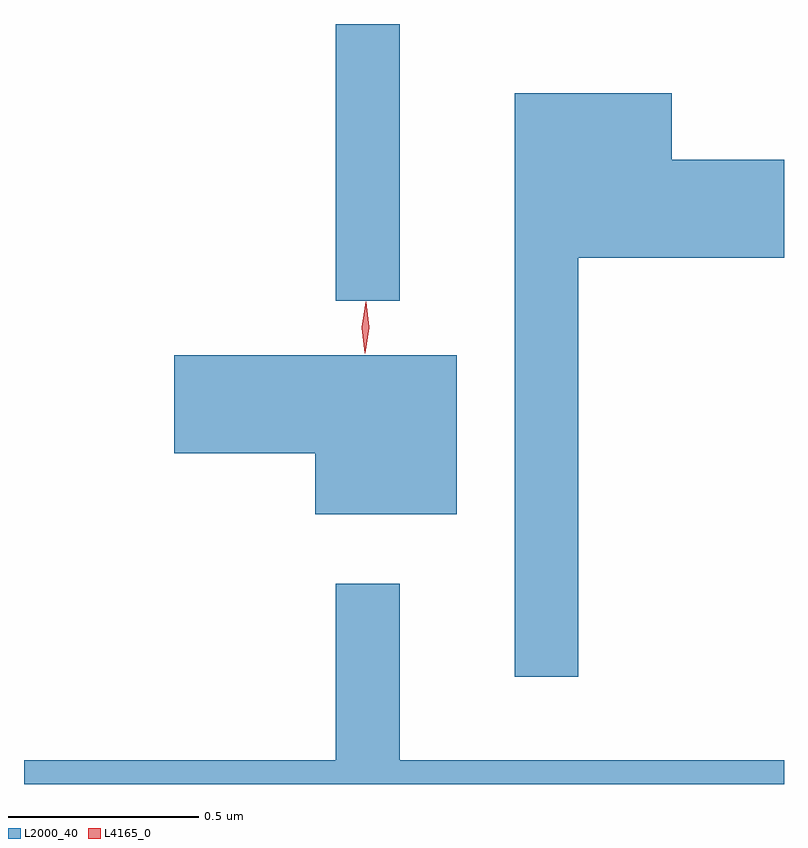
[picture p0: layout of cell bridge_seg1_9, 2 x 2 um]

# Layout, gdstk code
import gdstk
lib = gdstk.Library(unit=1e-6, precision=1e-09)
def R(c, l, rs):  # rectangles x0, y0, x1, y1
    for r in rs: c.add(gdstk.rectangle(r[:2], r[2:], *l))
def P(c, l, *ps):  # polygons
    for p in ps: c.add(gdstk.Polygon(p, *l))
L2000_40 = (2000, 40)
L4165_0 = (4165, 0)

bridge_seg1_9 = lib.new_cell('bridge_seg1_9')
R(bridge_seg1_9, L2000_40, [(1569.181,856.653,1569.349,857.381)])
P(bridge_seg1_9, L2000_40, [(1569.819,856.766),(1570.36,856.766),(1570.36,857.024),(1570.064,857.024),(1570.064,857.199),(1569.651,857.199),(1569.651,855.663),(1569.819,855.663)],
  [(1569.499,856.509),(1568.756,856.509),(1568.756,856.251),(1569.126,856.251),(1569.126,856.091),(1569.499,856.091)],
  [(1570.36,855.444),(1569.349,855.444),(1569.349,855.908),(1569.181,855.908),(1569.181,855.444),(1568.36,855.444),(1568.36,855.381),(1570.36,855.381)])
P(bridge_seg1_9, L4165_0, [(1569.257,856.514),(1569.249,856.582),(1569.259,856.65),(1569.26,856.65),(1569.26,856.65),(1569.268,856.582),(1569.258,856.514),(1569.258,856.514)],
  [(1569.258,856.52),(1569.257,856.521),(1569.249,856.584),(1569.259,856.646),(1569.26,856.647),(1569.26,856.646),(1569.268,856.584),(1569.258,856.521)])

lib.write_gds('bridge_seg1_9.gds')
